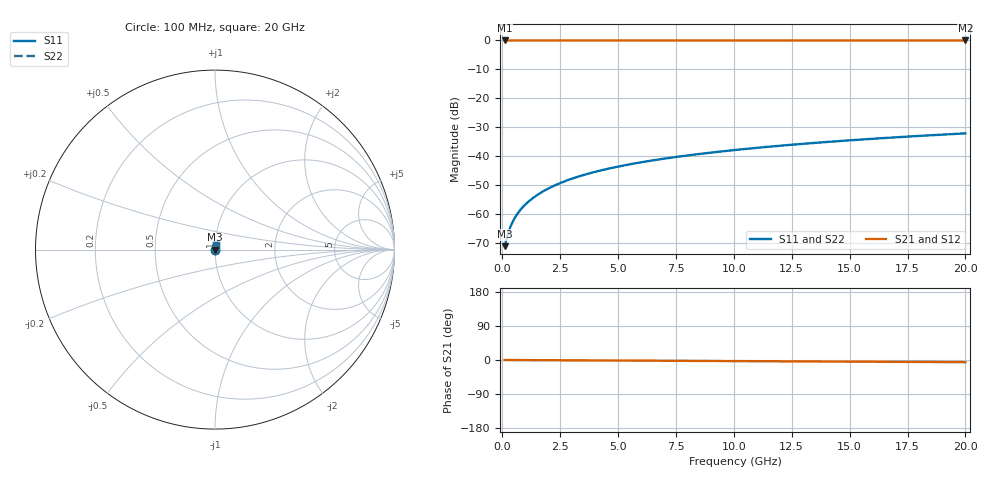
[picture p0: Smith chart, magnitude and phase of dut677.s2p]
! Touchstone file exported from HFSS 2026.1.0
!  File:  C:/ffzhzh/LocalFiles/Ansys_Project_Files/temp_train_TSV_677_1783027322_46388.aedt
!  Generated:  05:23:44 AM Jul  3, 2026
!  Design:  TSV
!  Project:  temp_train_TSV_677_1783027322_46388
! Variables:
!  h_bsmrdl = 2um
!  h_ox = 20um
!  h_rdl = 5um
!  h_sub = 53.35um
!  h_tmrdl = 5um
!  h_tsv = 53.35um
!  h_via = 3um
!  l_bsmrdl = 300um
!  l_sub = 411.28um
!  l_tmrdl = 200um
!  m_sub = 200um
!  pitch = 31.33um
!  r_tsv = 5.64um
!  s_tmrdl = 10um
!  w_bsmrdl = 18um
!  w_sub = 500um
!  w_tmrdl = 12um
!  x_tsv_center1 = 206um
!  x_tsv_center2 = 524um
!  x_tsv_center3 = 736um
!  x_tsv_center4 = 1054um
!  x_tsv_center5 = 1266um
!  x_tsv_center6 = 1584um
# GHz S MA R 50.000000
! Terminal data exported
! Port[1] = TSV1_1_T1
! Port[2] = TSV1_1_T2
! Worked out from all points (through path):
!   200 points, 100 MHz to 20 GHz, reference 50 ohm
!   highest |S21| = 0.00 dB at 100 MHz (marker M1); lowest = 0.0 dB at 20 GHz (marker M2)
!   lowest |S11| = -71.1 dB at 100 MHz (marker M3), VSWR 1.00, Z = 50 + j0.016 ohm
!   |S11| at or under -10 dB: start of sweep to end of sweep
!   |S22| runs from -71.1 to -32.1 dB; largest |S21 - S12| = 2.2e-15
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0.1  0.0002798 34.9  0.9998 -0.0  0.9998 -0.0  0.0002798 34.9
! Gamma 0 0 0 0
! Port Impedance 50 0 50 0
0.2  0.0003979 52.8  0.9998 -0.1  0.9998 -0.1  0.0003979 52.8
0.3  0.0005337 61.3  0.9997 -0.1  0.9997 -0.1  0.0005337 61.3
0.4  0.0006721 65.9  0.9997 -0.1  0.9997 -0.1  0.0006721 65.9
0.5  0.0008091 68.9  0.9997 -0.1  0.9997 -0.1  0.0008091 68.9
0.6  0.0009442 71.0  0.9997 -0.2  0.9997 -0.2  0.0009442 71.0
0.8  0.00121 73.9  0.9997 -0.2  0.9997 -0.2  0.00121 73.9
1.1  0.001605 76.6  0.9996 -0.3  0.9996 -0.3  0.001605 76.6
1.3  0.001868 77.9  0.9996 -0.4  0.9996 -0.4  0.001868 77.9
1.6  0.002262 79.2  0.9996 -0.5  0.9996 -0.5  0.002262 79.2
2.1  0.002918 80.6  0.9995 -0.6  0.9995 -0.6  0.002918 80.6
2.7  0.003701 81.4  0.9995 -0.8  0.9995 -0.8  0.003701 81.4
3.5  0.004732 82.0  0.9994 -1.0  0.9994 -1.0  0.004732 82.0
4.2  0.005621 82.3  0.9994 -1.2  0.9994 -1.2  0.005621 82.3
5  0.006626 82.5  0.9993 -1.4  0.9993 -1.4  0.006626 82.5
5.9  0.007745 82.6  0.9992 -1.7  0.9992 -1.7  0.007745 82.6
6.8  0.008856 82.7  0.9991 -2.0  0.9991 -2.0  0.008856 82.7
8.3  0.01069 82.7  0.999 -2.4  0.999 -2.4  0.01069 82.7
10.1  0.01289 82.6  0.9989 -2.9  0.9989 -2.9  0.01289 82.6
13.4  0.0169 82.3  0.9987 -3.8  0.9987 -3.8  0.0169 82.3
16.7  0.02089 81.7  0.9985 -4.8  0.9985 -4.8  0.02089 81.7
20  0.02484 81.0  0.9983 -5.7  0.9983 -5.7  0.02484 81.0
